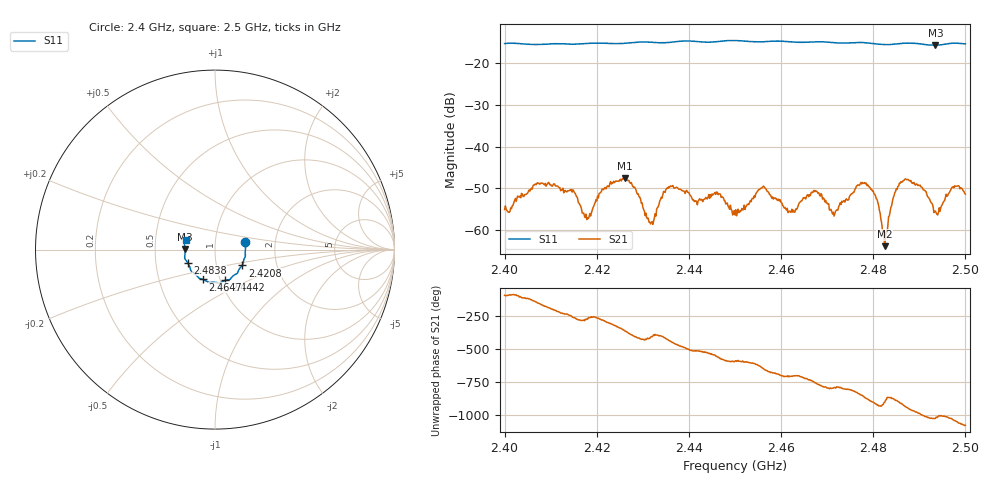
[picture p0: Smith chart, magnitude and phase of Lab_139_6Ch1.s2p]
# Hz S RI R 50
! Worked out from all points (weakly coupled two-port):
!   601 points, 2.4 GHz to 2.5 GHz, reference 50 ohm
!   highest |S21| = -47.51 dB at 2.4262 GHz (marker M1); lowest = -63.9 dB at 2.4825 GHz (marker M2)
!   lowest |S11| = -15.6 dB at 2.4935 GHz (marker M3), VSWR 1.40, Z = 35.8 + j0.203 ohm
!   |S11| at or under -10 dB: start of sweep to end of sweep
!   S12 and S22 are empty: the file has one direction only
!   S11 on the Smith chart (normalised r, x): 2.4 GHz: 1.40, +0.12; 2.4208 GHz: 1.33, -0.24; 2.4442 GHz: 1.05, -0.37; 2.4647 GHz: 0.83, -0.29; 2.4838 GHz: 0.73, -0.11; 2.5 GHz: 0.72, +0.08
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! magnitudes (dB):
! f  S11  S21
! 2.4 GHz  -15.2  -55.1
! 2.4077 GHz  -15.5  -49.0
! 2.4167 GHz  -15.3  -54.9
! 2.4208 GHz  -15.1  -51.0
! 2.4262 GHz  -15.1  -47.5
! 2.4317 GHz  -14.9  -58.5
! 2.4333 GHz  -15.0  -54.4
! 2.4362 GHz  -14.9  -49.5
! 2.4442 GHz  -14.9  -52.1
! 2.45 GHz  -14.5  -56.4
! 2.456 GHz  -14.8  -49.7
! 2.4617 GHz  -14.8  -55.6
! 2.4647 GHz  -14.9  -52.6
! 2.4667 GHz  -14.8  -50.9
! 2.4715 GHz  -15.0  -56.7
! 2.4783 GHz  -15.0  -48.9
! 2.4825 GHz  -15.5  -63.9
! 2.4833 GHz  -15.5  -56.8
! 2.4838 GHz  -15.5  -54.5
! 2.4873 GHz  -15.1  -47.9
! 2.4935 GHz  -15.6  -55.5
! 2.5 GHz  -15.3  -51.4
